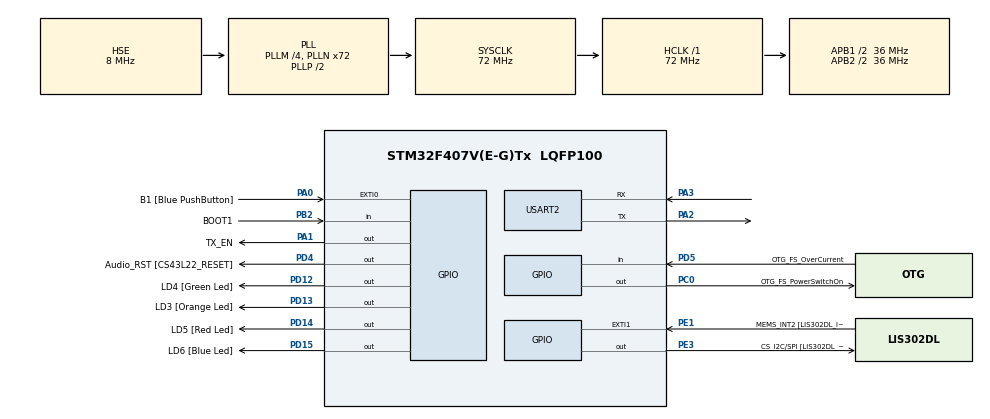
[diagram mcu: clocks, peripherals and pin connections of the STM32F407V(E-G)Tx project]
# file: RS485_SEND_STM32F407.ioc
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Mcu.Family=STM32F4
Mcu.Name=STM32F407V(E-G)Tx
Mcu.Package=LQFP100
NVIC.PriorityGroup=NVIC_PRIORITYGROUP_0
NVIC.USART2_IRQn=true\:0\:0\:false\:false\:true\:true\:true\:true
PA0-WKUP.GPIO_Label=B1 [Blue PushButton]
PA0-WKUP.GPIO_ModeDefaultEXTI=GPIO_MODE_EVT_RISING
PA0-WKUP.GPIO_PuPd=GPIO_NOPULL
PA0-WKUP.Signal=GPXTI0
PA1.GPIO_Label=TX_EN
PA1.Signal=GPIO_Output
PA10.GPIO_Label=OTG_FS_ID
PA10.GPIO_Mode=GPIO_MODE_AF_PP
PA10.GPIO_PuPd=GPIO_NOPULL
PA10.GPIO_Speed=GPIO_SPEED_FREQ_LOW
PA10.Signal=USB_OTG_FS_ID
PA11.GPIO_Label=OTG_FS_DM
PA11.GPIO_Mode=GPIO_MODE_AF_PP
PA11.GPIO_PuPd=GPIO_NOPULL
PA11.GPIO_Speed=GPIO_SPEED_FREQ_LOW
PA11.Signal=USB_OTG_FS_DM
PA12.GPIO_Label=OTG_FS_DP
PA12.GPIO_Mode=GPIO_MODE_AF_PP
PA12.GPIO_PuPd=GPIO_NOPULL
PA12.GPIO_Speed=GPIO_SPEED_FREQ_LOW
PA12.Signal=USB_OTG_FS_DP
PA13.GPIO_Label=SWDIO
PA13.Mode=Serial_Wire
PA13.Signal=SYS_JTMS-SWDIO
PA14.GPIO_Label=SWCLK
PA14.Mode=Serial_Wire
PA14.Signal=SYS_JTCK-SWCLK
PA2.Mode=Asynchronous
PA2.Signal=USART2_TX
PA3.Mode=Asynchronous
PA3.Signal=USART2_RX
PA4.GPIO_Label=I2S3_WS [CS43L22_LRCK]
PA4.GPIO_Mode=GPIO_MODE_AF_PP
PA4.GPIO_PuPd=GPIO_NOPULL
PA4.GPIO_Speed=GPIO_SPEED_FREQ_LOW
PA4.Signal=I2S3_WS
PA5.GPIO_Label=SPI1_SCK [LIS302DL_SCL/SPC]
PA5.GPIO_Mode=GPIO_MODE_AF_PP
PA5.GPIO_PuPd=GPIO_NOPULL
PA5.GPIO_Speed=GPIO_SPEED_FREQ_LOW
PA5.Signal=SPI1_SCK
PA6.GPIO_Label=SPI1_MISO [LIS302DL_SDO]
PA6.GPIO_Mode=GPIO_MODE_AF_PP
PA6.GPIO_PuPd=GPIO_NOPULL
PA6.GPIO_Speed=GPIO_SPEED_FREQ_LOW
PA6.Signal=SPI1_MISO
PA7.GPIO_Label=SPI1_MOSI [LIS302DL_SDA/SDI/SDO]
PA7.GPIO_Mode=GPIO_MODE_AF_PP
PA7.GPIO_PuPd=GPIO_NOPULL
PA7.GPIO_Speed=GPIO_SPEED_FREQ_LOW
PA7.Signal=SPI1_MOSI
PA9.GPIO_Label=VBUS_FS
PA9.GPIO_Mode=GPIO_MODE_INPUT
PA9.GPIO_PuPd=GPIO_NOPULL
PA9.Signal=USB_OTG_FS_VBUS
PB10.GPIO_Label=CLK_IN [MP45DT02_CLK]
PB10.GPIO_Mode=GPIO_MODE_AF_PP
PB10.GPIO_PuPd=GPIO_NOPULL
PB10.GPIO_Speed=GPIO_SPEED_FREQ_LOW
PB10.Signal=I2S2_CK
PB2.GPIO_Label=BOOT1
PB2.GPIO_Mode=GPIO_MODE_INPUT
PB2.GPIO_PuPd=GPIO_NOPULL
PB2.Signal=GPIO_Input
PB3.GPIO_Label=SWO
PB3.Signal=SYS_JTDO-SWO
PB6.GPIO_Label=Audio_SCL [CS43L22_SCL]
PB6.GPIO_Mode=GPIO_MODE_AF_OD
PB6.GPIO_Pu=GPIO_PULLUP
PB6.GPIO_PuPd=GPIO_NOPULL
PB6.GPIO_Speed=GPIO_SPEED_FREQ_LOW
PB6.Signal=I2C1_SCL
PB9.GPIO_Label=Audio_SDA [CS43L22_SDA]
PB9.GPIO_Mode=GPIO_MODE_AF_OD
PB9.GPIO_Pu=GPIO_PULLUP
PB9.GPIO_PuPd=GPIO_NOPULL
PB9.GPIO_Speed=GPIO_SPEED_FREQ_LOW
PB9.Signal=I2C1_SDA
PC0.GPIO_Label=OTG_FS_PowerSwitchOn
PC0.GPIO_PuPd=GPIO_NOPULL
PC0.GPIO_Speed=GPIO_SPEED_FREQ_LOW
PC0.PinState=GPIO_PIN_SET
PC0.Signal=GPIO_Output
PC10.GPIO_Label=I2S3_SCK [CS43L22_SCLK]
PC10.GPIO_Mode=GPIO_MODE_AF_PP
PC10.GPIO_PuPd=GPIO_NOPULL
PC10.GPIO_Speed=GPIO_SPEED_FREQ_LOW
PC10.Signal=I2S3_CK
PC12.GPIO_Label=I2S3_SD [CS43L22_SDIN]
PC12.GPIO_Mode=GPIO_MODE_AF_PP
PC12.GPIO_PuPd=GPIO_NOPULL
PC12.GPIO_Speed=GPIO_SPEED_FREQ_LOW
PC12.Signal=I2S3_SD
PC14-OSC32_IN.GPIO_Label=PC14-OSC32_IN
PC14-OSC32_IN.Mode=LSE-External-Oscillator
PC14-OSC32_IN.Signal=RCC_OSC32_IN
PC15-OSC32_OUT.GPIO_Label=PC15-OSC32_OUT
PC15-OSC32_OUT.Mode=LSE-External-Oscillator
PC15-OSC32_OUT.Signal=RCC_OSC32_OUT
PC3.GPIO_Label=PDM_OUT [MP45DT02_DOUT]
PC3.GPIO_Mode=GPIO_MODE_AF_PP
PC3.GPIO_PuPd=GPIO_NOPULL
PC3.GPIO_Speed=GPIO_SPEED_FREQ_LOW
PC3.Signal=I2S2_SD
PC7.GPIO_Label=I2S3_MCK [CS43L22_MCLK]
PC7.GPIO_Mode=GPIO_MODE_AF_PP
PC7.GPIO_PuPd=GPIO_NOPULL
PC7.GPIO_Speed=GPIO_SPEED_FREQ_LOW
PC7.Signal=I2S3_MCK
PD12.GPIO_Label=LD4 [Green Led]
PD12.GPIO_PuPd=GPIO_NOPULL
PD12.GPIO_Speed=GPIO_SPEED_FREQ_LOW
PD12.Signal=GPIO_Output
PD13.GPIO_Label=LD3 [Orange Led]
PD13.GPIO_PuPd=GPIO_NOPULL
PD13.GPIO_Speed=GPIO_SPEED_FREQ_LOW
PD13.Signal=GPIO_Output
PD14.GPIO_Label=LD5 [Red Led]
PD14.GPIO_PuPd=GPIO_NOPULL
PD14.GPIO_Speed=GPIO_SPEED_FREQ_LOW
PD14.Signal=GPIO_Output
PD15.GPIO_Label=LD6 [Blue Led]
PD15.GPIO_PuPd=GPIO_NOPULL
PD15.GPIO_Speed=GPIO_SPEED_FREQ_LOW
PD15.Signal=GPIO_Output
PD4.GPIO_Label=Audio_RST [CS43L22_RESET]
PD4.GPIO_PuPd=GPIO_NOPULL
PD4.GPIO_Speed=GPIO_SPEED_FREQ_LOW
PD4.Signal=GPIO_Output
PD5.GPIO_Label=OTG_FS_OverCurrent
PD5.GPIO_Mode=GPIO_MODE_INPUT
PD5.GPIO_PuPd=GPIO_NOPULL
PD5.Signal=GPIO_Input
PE1.GPIO_Label=MEMS_INT2 [LIS302DL_INT2]
PE1.GPIO_ModeDefaultEXTI=GPIO_MODE_EVT_RISING
PE1.GPIO_PuPd=GPIO_NOPULL
PE1.Signal=GPXTI1
PE3.GPIO_Label=CS_I2C/SPI [LIS302DL_CS_I2C/SPI]
PE3.GPIO_PuPd=GPIO_NOPULL
PE3.GPIO_Speed=GPIO_SPEED_FREQ_LOW
PE3.Signal=GPIO_Output
PH0-OSC_IN.GPIO_Label=PH0-OSC_IN
PH0-OSC_IN.Mode=HSE-External-Oscillator
PH0-OSC_IN.Signal=RCC_OSC_IN
PH1-OSC_OUT.GPIO_Label=PH1-OSC_OUT
PH1-OSC_OUT.Mode=HSE-External-Oscillator
PH1-OSC_OUT.Signal=RCC_OSC_OUT
ProjectManager.HeapSize=0x200
ProjectManager.StackSize=0x400
ProjectManager.TargetToolchain=STM32CubeIDE
RCC.48MHZClocksFreq_Value=48000000
RCC.AHBFreq_Value=72000000
RCC.APB1CLKDivider=RCC_HCLK_DIV2
RCC.APB1Freq_Value=36000000
RCC.APB1TimFreq_Value=72000000
RCC.APB2CLKDivider=RCC_HCLK_DIV2
RCC.APB2Freq_Value=36000000
RCC.APB2TimFreq_Value=72000000
RCC.CortexFreq_Value=72000000
RCC.HCLKFreq_Value=72000000
RCC.HSE_VALUE=8000000
RCC.HSI_VALUE=16000000
RCC.PLLI2SN=50
RCC.PLLM=4
RCC.PLLN=72
RCC.PLLQ=3
RCC.PLLSourceVirtual=RCC_PLLSOURCE_HSE
RCC.SYSCLKFreq_VALUE=72000000
RCC.SYSCLKSource=RCC_SYSCLKSOURCE_PLLCLK
RCC.VCOOutputFreq_Value=144000000
USART2.VirtualMode=VM_ASYNC
board=STM32F407G-DISC1

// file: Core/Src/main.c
/* USER CODE BEGIN Header */
/**
  ******************************************************************************
  * @file           : main.c
  * @brief          : Main program body
  ******************************************************************************
  * @attention
  *
  * Copyright (c) 2024 STMicroelectronics.
  * All rights reserved.
  *
  * This software is licensed under terms that can be found in the LICENSE file
  * in the root directory of this software component.
  * If no LICENSE file comes with this software, it is provided AS-IS.
  *
  ******************************************************************************
  */
/* USER CODE END Header */
#include "main.h"

/* USER CODE BEGIN Includes */
#include "stdio.h"
#include "string.h"
/* USER CODE END Includes */

/* USER CODE BEGIN PD */
#define MSG_SIZE 16
#define TEST 6
/* USER CODE END PD */

UART_HandleTypeDef huart2;

/* USER CODE BEGIN PV */
uint8_t volatile TxData[MSG_SIZE];
uint8_t volatile RxData[MSG_SIZE];
int volatile indx = 0;

uint8_t test[MSG_SIZE] = { 1, 1, 1, 1, 1, 0, 1, 1,
                           0, 0, 0, 1, 1, 1, 1, 0 //,
//                           0, 1, 1, 1, 1, 0, 0, 0,
//                           0, 1, 1, 1, 1, 0, 0, 0,
//                           1, 1, 0, 1, 1, 1, 1, 1,
//                           0, 1, 1, 0, 1, 1, 1, 1,
//                           1, 0, 0, 1, 1, 0, 0, 0,
//                           1, 0, 1, 1, 1, 0, 1, 0
};
/* USER CODE END PV */

void SystemClock_Config(void);
static void MX_GPIO_Init(void);
static void MX_USART2_UART_Init(void);
/* USER CODE BEGIN PFP */
void HAL_UARTEx_RxEventCallback(UART_HandleTypeDef *huart, uint16_t Size);
void sendData (uint8_t *data);
/* USER CODE END PFP */

int main(void)
{

  /* MCU Configuration--------------------------------------------------------*/

  /* Reset of all peripherals, Initializes the Flash interface and the Systick. */
  HAL_Init();

  /* Configure the system clock */
  SystemClock_Config();

  /* Initialize all configured peripherals */
  MX_GPIO_Init();
  MX_USART2_UART_Init();
  /* USER CODE BEGIN 2 */
  HAL_UARTEx_ReceiveToIdle_IT(&huart2, RxData, MSG_SIZE);
#if (TEST == 1)
  for (int i = 0; i < MSG_SIZE; i++)
    {
  	  TxData[i] = test[i];
    }

  for (int i = 0; i < 100; i++)
  {
	  sendData (TxData);
	  HAL_Delay(500);
  }
#endif
  /* USER CODE END 2 */

  /* Infinite loop */
  /* USER CODE BEGIN WHILE */
  while (1)
  {
#if (TEST == 2)
	  sprintf(TxData, "1111101100011110");
	  sendData (TxData);
	  HAL_Delay(1000);
#endif

#if (TEST == 3)
	  sprintf(TxData, "aloha");
	  sendData (TxData);
	  HAL_Delay(1000);
#endif

#if (TEST == 4)
	  sprintf(TxData, "IOT bkhn");
	  sendData (TxData);
	  HAL_Delay(1000);
#endif

#if (TEST == 5)
	  snprintf(TxData, sizeof TxData,"%.*s", MSG_SIZE, "DVHung dep zai.");
//	  sprintf(TxData, "D.V.Hung dep zai");
	  sendData (TxData);
	  HAL_Delay(1000);
#endif

#if (TEST == 6)
	snprintf(TxData, sizeof TxData,"%.*s", MSG_SIZE, "8GZ3F7X9Q1A5J2B");
	sendData (TxData);
	HAL_Delay(1000);
	snprintf(TxData, sizeof TxData,"%.*s", MSG_SIZE, "D4H8K2N6T7P9W1R");
	sendData (TxData);
	HAL_Delay(1000);
	snprintf(TxData, sizeof TxData,"%.*s", MSG_SIZE, "X3C2L7V8N5A4J6Q");
	sendData (TxData);
	HAL_Delay(1000);
	snprintf(TxData, sizeof TxData,"%.*s", MSG_SIZE, "P9Y5B2T8W4R7K1L");
	sendData (TxData);
	HAL_Delay(1000);
	snprintf(TxData, sizeof TxData,"%.*s", MSG_SIZE, "M1J4X7C8V2N5A3Q");
	sendData (TxData);
	HAL_Delay(1000);
	snprintf(TxData, sizeof TxData,"%.*s", MSG_SIZE, "R6D8L2K4T5N9J3P");
	sendData (TxData);
	HAL_Delay(1000);
	snprintf(TxData, sizeof TxData,"%.*s", MSG_SIZE, "7X2F3G6H5P9Q1T4");
	sendData (TxData);
	HAL_Delay(1000);
	snprintf(TxData, sizeof TxData,"%.*s", MSG_SIZE, "L3P7N9J2K4W6T8D");
	sendData (TxData);
	HAL_Delay(1000);
	snprintf(TxData, sizeof TxData,"%.*s", MSG_SIZE, "C5X8A2B4T7N6L3Q");
	sendData (TxData);
	HAL_Delay(1000);
	snprintf(TxData, sizeof TxData,"%.*s", MSG_SIZE, "Q2N7J5T8K4W1R6P");
	sendData (TxData);
	HAL_Delay(1000);
#endif

	  // while(1){}
    /* USER CODE END WHILE */

    /* USER CODE BEGIN 3 */
	  indx++;
  }
  /* USER CODE END 3 */
}

void SystemClock_Config(void)
{
  RCC_OscInitTypeDef RCC_OscInitStruct = {0};
  RCC_ClkInitTypeDef RCC_ClkInitStruct = {0};

  /** Configure the main internal regulator output voltage
  */
  __HAL_RCC_PWR_CLK_ENABLE();
  __HAL_PWR_VOLTAGESCALING_CONFIG(PWR_REGULATOR_VOLTAGE_SCALE1);

  /** Initializes the RCC Oscillators according to the specified parameters
  * in the RCC_OscInitTypeDef structure.
  */
  RCC_OscInitStruct.OscillatorType = RCC_OSCILLATORTYPE_HSE;
  RCC_OscInitStruct.HSEState = RCC_HSE_ON;
  RCC_OscInitStruct.PLL.PLLState = RCC_PLL_ON;
  RCC_OscInitStruct.PLL.PLLSource = RCC_PLLSOURCE_HSE;
  RCC_OscInitStruct.PLL.PLLM = 4;
  RCC_OscInitStruct.PLL.PLLN = 72;
  RCC_OscInitStruct.PLL.PLLP = RCC_PLLP_DIV2;
  RCC_OscInitStruct.PLL.PLLQ = 3;
  if (HAL_RCC_OscConfig(&RCC_OscInitStruct) != HAL_OK)
  {
    Error_Handler();
  }

  /** Initializes the CPU, AHB and APB buses clocks
  */
  RCC_ClkInitStruct.ClockType = RCC_CLOCKTYPE_HCLK|RCC_CLOCKTYPE_SYSCLK
                              |RCC_CLOCKTYPE_PCLK1|RCC_CLOCKTYPE_PCLK2;
  RCC_ClkInitStruct.SYSCLKSource = RCC_SYSCLKSOURCE_PLLCLK;
  RCC_ClkInitStruct.AHBCLKDivider = RCC_SYSCLK_DIV1;
  RCC_ClkInitStruct.APB1CLKDivider = RCC_HCLK_DIV2;
  RCC_ClkInitStruct.APB2CLKDivider = RCC_HCLK_DIV2;

  if (HAL_RCC_ClockConfig(&RCC_ClkInitStruct, FLASH_LATENCY_2) != HAL_OK)
  {
    Error_Handler();
  }
}

static void MX_USART2_UART_Init(void)
{

  huart2.Instance = USART2;
  huart2.Init.BaudRate = 115200;
  huart2.Init.WordLength = UART_WORDLENGTH_8B;
  huart2.Init.StopBits = UART_STOPBITS_1;
  huart2.Init.Parity = UART_PARITY_NONE;
  huart2.Init.Mode = UART_MODE_TX_RX;
  huart2.Init.HwFlowCtl = UART_HWCONTROL_NONE;
  huart2.Init.OverSampling = UART_OVERSAMPLING_16;
  if (HAL_UART_Init(&huart2) != HAL_OK)
  {
    Error_Handler();
  }

}

static void MX_GPIO_Init(void)
{
  GPIO_InitTypeDef GPIO_InitStruct = {0};

  /* GPIO Ports Clock Enable */
  __HAL_RCC_GPIOE_CLK_ENABLE();
  __HAL_RCC_GPIOC_CLK_ENABLE();
  __HAL_RCC_GPIOH_CLK_ENABLE();
  __HAL_RCC_GPIOA_CLK_ENABLE();
  __HAL_RCC_GPIOB_CLK_ENABLE();
  __HAL_RCC_GPIOD_CLK_ENABLE();

  /*Configure GPIO pin Output Level */
  HAL_GPIO_WritePin(CS_I2C_SPI_GPIO_Port, CS_I2C_SPI_Pin, GPIO_PIN_RESET);

  /*Configure GPIO pin Output Level */
  HAL_GPIO_WritePin(OTG_FS_PowerSwitchOn_GPIO_Port, OTG_FS_PowerSwitchOn_Pin, GPIO_PIN_SET);

  /*Configure GPIO pin Output Level */
  HAL_GPIO_WritePin(TX_EN_GPIO_Port, TX_EN_Pin, GPIO_PIN_RESET);

  /*Configure GPIO pin Output Level */
  HAL_GPIO_WritePin(GPIOD, LD4_Pin|LD3_Pin|LD5_Pin|LD6_Pin
                          |Audio_RST_Pin, GPIO_PIN_RESET);

  /*Configure GPIO pin : CS_I2C_SPI_Pin */
  GPIO_InitStruct.Pin = CS_I2C_SPI_Pin;
  GPIO_InitStruct.Mode = GPIO_MODE_OUTPUT_PP;
  GPIO_InitStruct.Pull = GPIO_NOPULL;
  GPIO_InitStruct.Speed = GPIO_SPEED_FREQ_LOW;
  HAL_GPIO_Init(CS_I2C_SPI_GPIO_Port, &GPIO_InitStruct);

  /*Configure GPIO pin : OTG_FS_PowerSwitchOn_Pin */
  GPIO_InitStruct.Pin = OTG_FS_PowerSwitchOn_Pin;
  GPIO_InitStruct.Mode = GPIO_MODE_OUTPUT_PP;
  GPIO_InitStruct.Pull = GPIO_NOPULL;
  GPIO_InitStruct.Speed = GPIO_SPEED_FREQ_LOW;
  HAL_GPIO_Init(OTG_FS_PowerSwitchOn_GPIO_Port, &GPIO_InitStruct);

  /*Configure GPIO pin : PDM_OUT_Pin */
  GPIO_InitStruct.Pin = PDM_OUT_Pin;
  GPIO_InitStruct.Mode = GPIO_MODE_AF_PP;
  GPIO_InitStruct.Pull = GPIO_NOPULL;
  GPIO_InitStruct.Speed = GPIO_SPEED_FREQ_LOW;
  GPIO_InitStruct.Alternate = GPIO_AF5_SPI2;
  HAL_GPIO_Init(PDM_OUT_GPIO_Port, &GPIO_InitStruct);

  /*Configure GPIO pin : B1_Pin */
  GPIO_InitStruct.Pin = B1_Pin;
  GPIO_InitStruct.Mode = GPIO_MODE_EVT_RISING;
  GPIO_InitStruct.Pull = GPIO_NOPULL;
  HAL_GPIO_Init(B1_GPIO_Port, &GPIO_InitStruct);

  /*Configure GPIO pin : TX_EN_Pin */
  GPIO_InitStruct.Pin = TX_EN_Pin;
  GPIO_InitStruct.Mode = GPIO_MODE_OUTPUT_PP;
  GPIO_InitStruct.Pull = GPIO_NOPULL;
  GPIO_InitStruct.Speed = GPIO_SPEED_FREQ_LOW;
  HAL_GPIO_Init(TX_EN_GPIO_Port, &GPIO_InitStruct);

  /*Configure GPIO pin : I2S3_WS_Pin */
  GPIO_InitStruct.Pin = I2S3_WS_Pin;
  GPIO_InitStruct.Mode = GPIO_MODE_AF_PP;
  GPIO_InitStruct.Pull = GPIO_NOPULL;
  GPIO_InitStruct.Speed = GPIO_SPEED_FREQ_LOW;
  GPIO_InitStruct.Alternate = GPIO_AF6_SPI3;
  HAL_GPIO_Init(I2S3_WS_GPIO_Port, &GPIO_InitStruct);

  /*Configure GPIO pins : SPI1_SCK_Pin SPI1_MISO_Pin SPI1_MOSI_Pin */
  GPIO_InitStruct.Pin = SPI1_SCK_Pin|SPI1_MISO_Pin|SPI1_MOSI_Pin;
  GPIO_InitStruct.Mode = GPIO_MODE_AF_PP;
  GPIO_InitStruct.Pull = GPIO_NOPULL;
  GPIO_InitStruct.Speed = GPIO_SPEED_FREQ_LOW;
  GPIO_InitStruct.Alternate = GPIO_AF5_SPI1;
  HAL_GPIO_Init(GPIOA, &GPIO_InitStruct);

  /*Configure GPIO pin : BOOT1_Pin */
  GPIO_InitStruct.Pin = BOOT1_Pin;
  GPIO_InitStruct.Mode = GPIO_MODE_INPUT;
  GPIO_InitStruct.Pull = GPIO_NOPULL;
  HAL_GPIO_Init(BOOT1_GPIO_Port, &GPIO_InitStruct);

  /*Configure GPIO pin : CLK_IN_Pin */
  GPIO_InitStruct.Pin = CLK_IN_Pin;
  GPIO_InitStruct.Mode = GPIO_MODE_AF_PP;
  GPIO_InitStruct.Pull = GPIO_NOPULL;
  GPIO_InitStruct.Speed = GPIO_SPEED_FREQ_LOW;
  GPIO_InitStruct.Alternate = GPIO_AF5_SPI2;
  HAL_GPIO_Init(CLK_IN_GPIO_Port, &GPIO_InitStruct);

  /*Configure GPIO pins : LD4_Pin LD3_Pin LD5_Pin LD6_Pin
                           Audio_RST_Pin */
  GPIO_InitStruct.Pin = LD4_Pin|LD3_Pin|LD5_Pin|LD6_Pin
                          |Audio_RST_Pin;
  GPIO_InitStruct.Mode = GPIO_MODE_OUTPUT_PP;
  GPIO_InitStruct.Pull = GPIO_NOPULL;
  GPIO_InitStruct.Speed = GPIO_SPEED_FREQ_LOW;
  HAL_GPIO_Init(GPIOD, &GPIO_InitStruct);

  /*Configure GPIO pins : I2S3_MCK_Pin I2S3_SCK_Pin I2S3_SD_Pin */
  GPIO_InitStruct.Pin = I2S3_MCK_Pin|I2S3_SCK_Pin|I2S3_SD_Pin;
  GPIO_InitStruct.Mode = GPIO_MODE_AF_PP;
  GPIO_InitStruct.Pull = GPIO_NOPULL;
  GPIO_InitStruct.Speed = GPIO_SPEED_FREQ_LOW;
  GPIO_InitStruct.Alternate = GPIO_AF6_SPI3;
  HAL_GPIO_Init(GPIOC, &GPIO_InitStruct);

  /*Configure GPIO pin : VBUS_FS_Pin */
  GPIO_InitStruct.Pin = VBUS_FS_Pin;
  GPIO_InitStruct.Mode = GPIO_MODE_INPUT;
  GPIO_InitStruct.Pull = GPIO_NOPULL;
  HAL_GPIO_Init(VBUS_FS_GPIO_Port, &GPIO_InitStruct);

  /*Configure GPIO pins : OTG_FS_ID_Pin OTG_FS_DM_Pin OTG_FS_DP_Pin */
  GPIO_InitStruct.Pin = OTG_FS_ID_Pin|OTG_FS_DM_Pin|OTG_FS_DP_Pin;
  GPIO_InitStruct.Mode = GPIO_MODE_AF_PP;
  GPIO_InitStruct.Pull = GPIO_NOPULL;
  GPIO_InitStruct.Speed = GPIO_SPEED_FREQ_LOW;
  GPIO_InitStruct.Alternate = GPIO_AF10_OTG_FS;
  HAL_GPIO_Init(GPIOA, &GPIO_InitStruct);

  /*Configure GPIO pin : OTG_FS_OverCurrent_Pin */
  GPIO_InitStruct.Pin = OTG_FS_OverCurrent_Pin;
  GPIO_InitStruct.Mode = GPIO_MODE_INPUT;
  GPIO_InitStruct.Pull = GPIO_NOPULL;
  HAL_GPIO_Init(OTG_FS_OverCurrent_GPIO_Port, &GPIO_InitStruct);

  /*Configure GPIO pins : Audio_SCL_Pin Audio_SDA_Pin */
  GPIO_InitStruct.Pin = Audio_SCL_Pin|Audio_SDA_Pin;
  GPIO_InitStruct.Mode = GPIO_MODE_AF_OD;
  GPIO_InitStruct.Pull = GPIO_PULLUP;
  GPIO_InitStruct.Speed = GPIO_SPEED_FREQ_LOW;
  GPIO_InitStruct.Alternate = GPIO_AF4_I2C1;
  HAL_GPIO_Init(GPIOB, &GPIO_InitStruct);

  /*Configure GPIO pin : MEMS_INT2_Pin */
  GPIO_InitStruct.Pin = MEMS_INT2_Pin;
  GPIO_InitStruct.Mode = GPIO_MODE_EVT_RISING;
  GPIO_InitStruct.Pull = GPIO_NOPULL;
  HAL_GPIO_Init(MEMS_INT2_GPIO_Port, &GPIO_InitStruct);

}

/* USER CODE BEGIN 4 */
/**
  * @brief UARTEx Event Callback
  * @param None
  * @retval None
  */
void HAL_UARTEx_RxEventCallback(UART_HandleTypeDef *huart, uint16_t Size)
{
	HAL_UARTEx_ReceiveToIdle_IT(&huart2, RxData, MSG_SIZE);
}

/**
  * @brief Function to sent data through uart
  * @param None
  * @retval None
  */
void sendData (uint8_t *data)
{
	// Pull DE high to enable TX operation
	HAL_GPIO_WritePin(TX_EN_GPIO_Port, TX_EN_Pin, GPIO_PIN_SET);
	HAL_UART_Transmit(&huart2, data, strlen (data) , 1000);
	// Pull RE Low to enable RX operation
	HAL_GPIO_WritePin(TX_EN_GPIO_Port, TX_EN_Pin, GPIO_PIN_RESET);
}
/* USER CODE END 4 */

void Error_Handler(void)
{
  __disable_irq();
  while (1)
  {
  }
}
